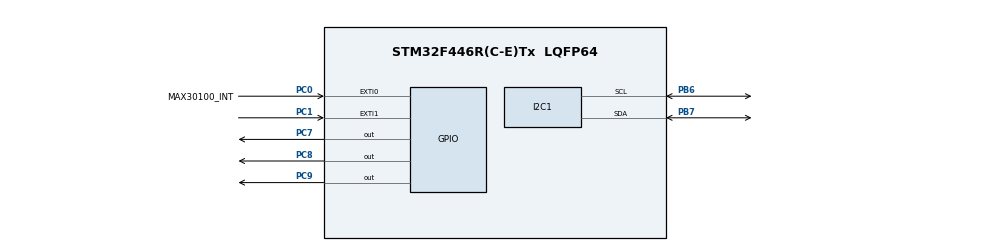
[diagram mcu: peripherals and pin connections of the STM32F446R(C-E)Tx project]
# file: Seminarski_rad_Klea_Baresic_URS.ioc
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Mcu.Family=STM32F4
Mcu.Name=STM32F446R(C-E)Tx
Mcu.Package=LQFP64
NVIC.EXTI0_IRQn=true\:0\:0\:false\:false\:true\:true\:true\:true
NVIC.EXTI1_IRQn=true\:0\:0\:false\:false\:true\:true\:true\:true
NVIC.PriorityGroup=NVIC_PRIORITYGROUP_4
NVIC.TIM2_IRQn=true\:0\:0\:false\:false\:true\:true\:true\:true
PA13.Mode=Serial_Wire
PA13.Signal=SYS_JTMS-SWDIO
PA14.Mode=Serial_Wire
PA14.Signal=SYS_JTCK-SWCLK
PB6.Mode=I2C
PB6.Signal=I2C1_SCL
PB7.Mode=I2C
PB7.Signal=I2C1_SDA
PC0.GPIO_Label=MAX30100_INT
PC0.GPIO_PuPd=GPIO_PULLUP
PC0.Signal=GPXTI0
PC1.GPIO_ModeDefaultEXTI=GPIO_MODE_IT_FALLING
PC1.GPIO_PuPd=GPIO_PULLUP
PC1.Signal=GPXTI1
PC7.Signal=GPIO_Output
PC8.Signal=GPIO_Output
PC9.Signal=GPIO_Output
ProjectManager.HeapSize=0x200
ProjectManager.StackSize=0x400
ProjectManager.TargetToolchain=STM32CubeIDE
RCC.CortexFreq_Value=16000000
RCC.USBFreq_Value=96000000
RCC.VCOOutputFreq_Value=192000000
TIM2.Period=99
TIM2.Prescaler=1599
VP_TIM2_VS_ClockSourceINT.Mode=Internal
board=custom

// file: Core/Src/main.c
/* USER CODE BEGIN Header */
/**
  ******************************************************************************
  * @file           : main.c
  * @brief          : Main program body
  ******************************************************************************
  */
/* USER CODE END Header */
#include "main.h"
#include "i2c.h"
#include "tim.h"
#include "gpio.h"

/* USER CODE BEGIN Includes */
#include "ssd1306.h"
#include "ssd1306_fonts.h"
#include <stdio.h>
#include <string.h>
/* USER CODE END Includes */

/* USER CODE BEGIN PV */
volatile uint8_t podaci_spremni   = 0;
volatile uint8_t uzorci_cekanje   = 0;
volatile uint8_t otkucaj   = 0;
volatile uint8_t prst_bio_prisutan = 0;
volatile uint8_t reset_zahtjev = 0;
volatile uint32_t zadnji_reset_tick = 0;

#define MAX_UZORKOVANJE      500

uint32_t ir_buffer[MAX_UZORKOVANJE];
uint32_t red_buffer[MAX_UZORKOVANJE];
uint16_t buffer_index = 0;
uint8_t  buffer_pun   = 0;

int32_t bpm_history[7] = {0, 0, 0, 0, 0, 0, 0};
uint8_t bpm_idx        = 0;
int32_t spo2_history[5] = {0, 0, 0, 0, 0};
uint8_t spo2_idx        = 0;

uint32_t led_tick = 0;
uint8_t led_stanje = 0;
uint8_t led_tip = 0;
uint8_t prethodni_led = 0;
uint8_t prethodni_led_tip = 0;
/* USER CODE END PV */

void SystemClock_Config(void);
/* USER CODE BEGIN PFP */
void ugasi_GPIO_izlaze(void);

/* USER CODE END PFP */

/* USER CODE BEGIN 0 */
#define MAX30100_ADDR        0xAE  // 0x57 << 1
#define MAX30100_REG_MODE    0x06
#define MAX30100_REG_SPO2    0x07
#define MAX30100_REG_LED     0x09
#define MAX30100_REG_FIFO    0x05
#define MAX30100_REG_INT_EN  0x01

void MAX30100_Init(I2C_HandleTypeDef *hi2c)
{
    uint8_t data;

    // reset
    data = 0x40;
    HAL_I2C_Mem_Write(hi2c, MAX30100_ADDR, MAX30100_REG_MODE, 1, &data, 1, 100);
    HAL_Delay(100);

    // SpO2 mode
    data = 0x03;
    HAL_I2C_Mem_Write(hi2c, MAX30100_ADDR, MAX30100_REG_MODE, 1, &data, 1, 100);

    // SpO2 config: 100Hz, 1600us pulse
    data = 0x47;
    HAL_I2C_Mem_Write(hi2c, MAX30100_ADDR, MAX30100_REG_SPO2, 1, &data, 1, 100);

    // LED struja: IR 36mA + RED 36mA (0xFF je previse, senzor je u zasicenju)
    data = 0xAA;
    HAL_I2C_Mem_Write(hi2c, MAX30100_ADDR, MAX30100_REG_LED, 1, &data, 1, 100);

    // ocisti FIFO pokazivace
    data = 0x00;
    HAL_I2C_Mem_Write(hi2c, MAX30100_ADDR, 0x02, 1, &data, 1, 100);
    HAL_I2C_Mem_Write(hi2c, MAX30100_ADDR, 0x03, 1, &data, 1, 100);
    HAL_I2C_Mem_Write(hi2c, MAX30100_ADDR, 0x04, 1, &data, 1, 100);
}

void MAX30100_ReadFifo(I2C_HandleTypeDef *hi2c, uint32_t *ir, uint32_t *red)
{
    uint8_t buf[4];
    HAL_I2C_Mem_Read(hi2c, MAX30100_ADDR, MAX30100_REG_FIFO, 1, buf, 4, 100);
    *ir  = ((uint32_t)buf[0] << 8) | buf[1];
    *red = ((uint32_t)buf[2] << 8) | buf[3];
}

// port oxullo BeatDetector algoritma za STM32 HAL
// originalni driver sa (https://github.com/oxullo/Arduino-MAX30100)
#define BEATDETECTOR_INIT_HOLDOFF          2000
#define BEATDETECTOR_CANDIDACY_TRESHOLD    0.02f
#define BEATDETECTOR_MASKING_HOLDOFF       500
#define BEATDETECTOR_BPFILTER_ALPHA        0.6f
#define BEATDETECTOR_MIN_THRESHOLD         0.20f
#define BEATDETECTOR_MAX_THRESHOLD         13.0f
#define BEATDETECTOR_STEP_RESISTRY         0.0005f
#define BEATDETECTOR_STEP_DECAY            0.002f

typedef enum
{
    BEATDETECTOR_STATE_INIT,
    BEATDETECTOR_STATE_WAITING,
    BEATDETECTOR_STATE_FOLLOWING_SLOPE,
    BEATDETECTOR_STATE_MAYBE_DETECTED,
    BEATDETECTOR_STATE_MASKING
} BeatDetectorState;

static BeatDetectorState  beat_state     = BEATDETECTOR_STATE_INIT;
static float              beat_threshold = BEATDETECTOR_MAX_THRESHOLD;
static float              beat_bpm       = 0.0f;
static uint32_t           beat_ts_last   = 0;

uint8_t BeatDetector_Update(float sample)
{
    uint8_t beat_detected = 0;
    uint32_t now = HAL_GetTick();

    switch (beat_state)
    {
        case BEATDETECTOR_STATE_INIT: //cekanje od 2000ms da izbjegnemo prikupljanje sumova na pocektu
            if (now > BEATDETECTOR_INIT_HOLDOFF)
            {
                beat_state = BEATDETECTOR_STATE_WAITING;
            }
            break;

        case BEATDETECTOR_STATE_WAITING: //cekanje signala da naraste iznad praga
            if (sample > beat_threshold)
            {
                beat_state = BEATDETECTOR_STATE_FOLLOWING_SLOPE;
            }
            if (sample > BEATDETECTOR_MIN_THRESHOLD)
            {
                beat_threshold -= BEATDETECTOR_STEP_DECAY; //prilagodavanje praga da se dohvati slabiji signal
            }
            else
            {
                beat_threshold += BEATDETECTOR_STEP_RESISTRY; //zastita od laznih detekcija u tisini
            }

            if (beat_threshold < BEATDETECTOR_MIN_THRESHOLD)
                beat_threshold = BEATDETECTOR_MIN_THRESHOLD;

            if (beat_threshold > BEATDETECTOR_MAX_THRESHOLD)
                beat_threshold = BEATDETECTOR_MAX_THRESHOLD;
            break;

        case BEATDETECTOR_STATE_FOLLOWING_SLOPE: //pracenje vrha signala, kad padne prosao je otkucaj
            if (sample < beat_threshold)
            {
                beat_state = BEATDETECTOR_STATE_MAYBE_DETECTED;
            }

            beat_threshold = sample * BEATDETECTOR_CANDIDACY_TRESHOLD;

            if (beat_threshold < BEATDETECTOR_MIN_THRESHOLD)
                beat_threshold = BEATDETECTOR_MIN_THRESHOLD;
            break;

        case BEATDETECTOR_STATE_MAYBE_DETECTED: //potvrda otkucaja
            if (sample + BEATDETECTOR_CANDIDACY_TRESHOLD < beat_threshold)
            {
                beat_detected = 1; //potvrden otkucaj i izracun bpm
                uint32_t interval = now - beat_ts_last;
                if (beat_ts_last > 0 && interval > 300 && interval < 2000)
                {
                    beat_bpm = 60000.0f / (float)interval;
                }

                beat_ts_last = now;
                beat_state = BEATDETECTOR_STATE_MASKING;

            }

            else
            {
                beat_state = BEATDETECTOR_STATE_WAITING;
            }
            break;

       //blokiranje detekcije na 500ms zbog sekundarnog vala pulsnog signala koji bi se racunao kao dodatni otkucaj
        case BEATDETECTOR_STATE_MASKING:
            if (now - beat_ts_last > BEATDETECTOR_MASKING_HOLDOFF)
            {
                beat_state = BEATDETECTOR_STATE_WAITING;
            }
            break;
    }

    return beat_detected;
}

float BeatDetector_GetBPM(void)
{
    return beat_bpm;
}

int32_t Calculate_SpO2(uint32_t *ir_buf, uint32_t *red_buf, uint16_t size)
{
    if (size > MAX_UZORKOVANJE) size = MAX_UZORKOVANJE;

    #define NUM_WINDOWS 9
    float ratios[NUM_WINDOWS];
    uint16_t window_size = size / NUM_WINDOWS; //podjela buffera signala na više dijelova zbog zastite od sumova

    for (int w = 0; w < NUM_WINDOWS; w++)
    {
        uint16_t start = w * window_size;
        uint16_t end   = start + window_size;

        uint32_t ir_max = 0, ir_min = 0xFFFFFFFF;
        uint32_t red_max = 0, red_min = 0xFFFFFFFF;
        uint64_t ir_sum = 0, red_sum = 0;

        for (int i = start; i < end; i++)
        {
            ir_sum  += ir_buf[i];
            red_sum += red_buf[i];
            if (ir_buf[i]  > ir_max)  ir_max  = ir_buf[i];
            if (ir_buf[i]  < ir_min)  ir_min  = ir_buf[i];
            if (red_buf[i] > red_max) red_max = red_buf[i];
            if (red_buf[i] < red_min) red_min = red_buf[i];
        }

        float ir_ac  = (float)(ir_max - ir_min); // pulsna komponenta, tjst otkucaji
        float red_ac = (float)(red_max - red_min); //pulsna komponenta crvene
        float ir_dc  = (float)(ir_sum  / window_size); //prosjek, stalne komponenze (tkivo, kosti..)
        float red_dc = (float)(red_sum / window_size);

        if (ir_ac < 1.0f || ir_dc < 1.0f)
            ratios[w] = 0.0f;
        else
            ratios[w] = (red_ac / red_dc) / (ir_ac / ir_dc);
    }

    for (int i = 0; i < NUM_WINDOWS - 1; i++)
        for (int j = i + 1; j < NUM_WINDOWS; j++)
            if (ratios[i] > ratios[j])
            {
                float tmp = ratios[i];
                ratios[i] = ratios[j];
                ratios[j] = tmp;
            }

    //medijan ratia
    float ratio = ratios[NUM_WINDOWS / 2];

    if (ratio < 0.1f || ratio > 1.3f ) return 0;

    // kalibrirana formula za MAX30100
    int32_t spo2 = (int32_t)(109.0f - 14.0f * ratio);

    //stavljam ogranicenja jer senzor inace daje neobicne vrijednosti
    if (spo2 > 99) spo2 = 99;
    if (spo2 < 80)  spo2 = 80;

    return spo2;
}

void ugasi_GPIO_izlaze(void)
{
    HAL_GPIO_WritePin(GPIOC, GPIO_PIN_7, GPIO_PIN_RESET);
    HAL_GPIO_WritePin(GPIOC, GPIO_PIN_8, GPIO_PIN_RESET);
    HAL_GPIO_WritePin(GPIOC, GPIO_PIN_9, GPIO_PIN_RESET);
}

/* USER CODE END 0 */

int main(void)
{

  /* MCU Configuration--------------------------------------------------------*/

  /* Reset of all peripherals, Initializes the Flash interface and the Systick. */
  HAL_Init();

  /* Configure the system clock */
  SystemClock_Config();

  /* Initialize all configured peripherals */
  MX_GPIO_Init();
  MX_I2C1_Init();
  MX_TIM2_Init();
  /* USER CODE BEGIN 2 */
    char     buffer[32];
    uint32_t zadnje_vrijeme = 0;
    int32_t  bpm  = 0;
    int32_t  spo2 = 0;

    HAL_TIM_Base_Start_IT(&htim2);

    //inicijakizacija malog oled zaslona
    ssd1306_Init();
    ssd1306_Fill(Black);
    ssd1306_SetCursor(10, 10);
    ssd1306_WriteString("Pokretanje...", Font_11x18, White);
    ssd1306_UpdateScreen();
    HAL_Delay(500);

    MAX30100_Init(&hi2c1);

    ssd1306_Fill(Black);
    ssd1306_SetCursor(10, 10);
    ssd1306_WriteString("Spreman!", Font_11x18, White);
    ssd1306_UpdateScreen();
    HAL_Delay(500);
  /* USER CODE END 2 */

  /* Infinite loop */
  /* USER CODE BEGIN WHILE */
    while (1)
    {

		uint32_t now = HAL_GetTick();

    	if(reset_zahtjev)
    	{
    	  reset_zahtjev=0;

    	  //reset funkcija detektiranja
    	  beat_state=BEATDETECTOR_STATE_INIT;
    	  beat_threshold = BEATDETECTOR_MAX_THRESHOLD;
    	  beat_bpm=0.0f;
    	  beat_ts_last=HAL_GetTick();;

    	  //reset preracunanih vrijednosti
    	  bpm=0;
    	  spo2=0;
    	  for (int i = 0; i < 7; i++) bpm_history[i] = 0;
    	  for (int i = 0; i < 5; i++) spo2_history[i] = 0;
    	  bpm_idx = 0;
    	  spo2_idx = 0;

    	  //reset buffera
    	  buffer_index=0;
    	  buffer_pun=0;
    	  prst_bio_prisutan=0;

    	  ugasi_GPIO_izlaze();

    	  ssd1306_Fill(Black);
    	  ssd1306_SetCursor(10,10);
    	  ssd1306_WriteString("Reset...",Font_11x18, White);
    	  ssd1306_UpdateScreen();
    	  HAL_Delay(300);
    	}

    	while (uzorci_cekanje>0)
    	{
    		__disable_irq();

    		if (uzorci_cekanje > 0)
    		        uzorci_cekanje--;

    		__enable_irq();

    	    uint32_t ir, red;

    	    (MAX30100_ReadFifo(&hi2c1, &ir, &red));

    	    if (ir == 0 || red == 0)
    	    	continue;

    	    static float ir_dc = 0.0f;
    	    ir_dc = ir_dc * 0.99f + (float)ir * 0.01f;
    	    float ir_ac = (float)ir - ir_dc;

    	    // uklanjanje visokofrekventnog suma na AC signalu
    	    static float ir_ac_filtered = 0.0f;
    	    ir_ac_filtered = ir_ac_filtered * 0.75f + ir_ac * 0.25f;

    	    if (BeatDetector_Update(ir_ac_filtered))// filtrirani signal
    	    {
    	        otkucaj = 1;
    	    }

    	    ir_buffer[buffer_index]  = ir;
    	    red_buffer[buffer_index] = red;
    	    buffer_index++;
    	    if (buffer_index >= MAX_UZORKOVANJE)
    	    {
    	        buffer_index = 0;
    	        buffer_pun   = 1;
    	    }
    	}

        // prikaz svakih 200ms, samo kad je buffer pun
        if (buffer_pun && (HAL_GetTick() - zadnje_vrijeme >= 200))
        {
            zadnje_vrijeme = HAL_GetTick();

            // provjera je li prst prisutan (zadnjih 10 uzoraka)
            uint8_t prst_prisutan = 1;

            uint64_t ir_zbroj=0;

            /* Provjera zadnjih 10 IR uzoraka */
            for (int i = 0; i < 10; i++)
            {
                uint16_t idx =
                    (buffer_index + MAX_UZORKOVANJE - 1 - i) % MAX_UZORKOVANJE;

                ir_zbroj+=ir_buffer[idx];
            }

            uint32_t ir_prosjek=ir_zbroj/10;

            if(ir_prosjek<13500)
            	prst_prisutan=0;

            ssd1306_Fill(Black);

            if (prst_prisutan)
               {
                float novi_bpm_f = BeatDetector_GetBPM();
                int32_t novi_bpm = (int32_t)novi_bpm_f;
                int32_t novi_spo2 = Calculate_SpO2(ir_buffer, red_buffer, MAX_UZORKOVANJE);

                if (!prst_bio_prisutan)
                   {
                    beat_state     = BEATDETECTOR_STATE_INIT;
                    beat_threshold = BEATDETECTOR_MAX_THRESHOLD;
                    beat_bpm       = 0.0f;
                    beat_ts_last   = 0;

                	for (int i = 0; i < 7; i++) bpm_history[i] = 0;
                         bpm = 0;
                    }
                     prst_bio_prisutan = 1;

                if (novi_bpm >= 50 && novi_bpm <= 180)
                {
                    // provjera je li se bpm previse razlikuje
                	if (bpm == 0 || (novi_bpm >= (bpm * 75) / 100 && novi_bpm <= (bpm * 125) / 100))
                    {
                        bpm_history[bpm_idx] = novi_bpm;
                        bpm_idx = (bpm_idx + 1) % 7;
                        int32_t sum = 0;
                        int32_t count = 0;
                        for (int i = 0; i < 7; i++) {
                            if (bpm_history[i] > 0) {
                                sum += bpm_history[i];
                                count++;
                            }
                        }
                        if (count > 0) bpm = sum / count;
                    }

                    uint8_t novi_led_tip = 0;

                    /*
                     * 0 = nema validnog BPM
                     * 1 = 50-99 BPM
                     * 2 = 100+ BPM
                     */
                    if (bpm >= 50 && bpm < 100)
                    {
                        novi_led_tip = 1;
                    }
                    else if (bpm >= 100 && bpm <= 180)
                    {
                        novi_led_tip = 2;
                    }
                    else
                    {
                        novi_led_tip = 0;
                    }

                    if (novi_led_tip != prethodni_led_tip)
                    {
                        prethodni_led_tip = novi_led_tip;

                        led_tick = now;
                        led_stanje = 0;

                        HAL_GPIO_WritePin(GPIOC, GPIO_PIN_7 | GPIO_PIN_8 | GPIO_PIN_9, GPIO_PIN_RESET);
                    }

                    if (novi_led_tip == 1)
                    {
                        led_tip = 1;

                        if ((now - led_tick) >= 500)
                        {
                            led_tick = now;

                            led_stanje = !led_stanje;

                            HAL_GPIO_WritePin(GPIOC, GPIO_PIN_7, led_stanje ? GPIO_PIN_SET : GPIO_PIN_RESET);
                            HAL_GPIO_WritePin(GPIOC, GPIO_PIN_8 | GPIO_PIN_9, GPIO_PIN_RESET);
                        }
                    }

                        else if (novi_led_tip == 2)
                        {
                            led_tip = 2;

                            if ((now - led_tick) >= 300)
                            {
                                led_tick = now;

                                led_stanje = !led_stanje;

                                HAL_GPIO_WritePin(GPIOC, GPIO_PIN_7, GPIO_PIN_RESET);

                                if (led_stanje)
                                {
                                    HAL_GPIO_WritePin(GPIOC, GPIO_PIN_9, GPIO_PIN_SET);

                                    HAL_GPIO_WritePin(GPIOC, GPIO_PIN_8, GPIO_PIN_RESET);
                                }
                                else
                                {
                                    HAL_GPIO_WritePin(GPIOC, GPIO_PIN_9, GPIO_PIN_RESET);

                                    HAL_GPIO_WritePin(GPIOC, GPIO_PIN_8,GPIO_PIN_SET);
                                }
                            }
                        }

                        else
                        {
                            led_tip = 0;
                            led_stanje = 0;
                            HAL_GPIO_WritePin(GPIOC, GPIO_PIN_7 | GPIO_PIN_8 | GPIO_PIN_9, GPIO_PIN_RESET);
                        }
                }

                if (novi_spo2 >= 85 && novi_spo2 <= 100)
                {
                    spo2_history[spo2_idx] = novi_spo2;
                    spo2_idx = (spo2_idx + 1) % 5;
                    int32_t spo2_sum = 0;
                    for (int i = 0; i < 5; i++) spo2_sum += spo2_history[i];
                    spo2 = spo2_sum / 5;
                }

                if (bpm > 0 && spo2 > 0) //ispisivanje obradenih podataka
                {
                    sprintf(buffer, "BPM: %ld", bpm);
                    ssd1306_SetCursor(0, 0);
                    ssd1306_WriteString(buffer, Font_11x18, White);

                    sprintf(buffer, "SpO2: %ld%%", spo2);
                    ssd1306_SetCursor(0, 25);
                    ssd1306_WriteString(buffer, Font_11x18, White);

                }
                else
                {
                    ssd1306_SetCursor(0, 10);
                    ssd1306_WriteString("Miruj...", Font_11x18, White);
                }
            }
            else
            {
            	HAL_GPIO_WritePin(GPIOC, GPIO_PIN_7 | GPIO_PIN_8 | GPIO_PIN_9, GPIO_PIN_RESET);
            	prst_bio_prisutan = 0;
                bpm  = 0;
                spo2 = 0;

                ssd1306_SetCursor(0, 20);
                ssd1306_WriteString("Stavi prst", Font_11x18, White);
            }

            ssd1306_UpdateScreen();
        }
    }
    /* USER CODE END WHILE */

}

void SystemClock_Config(void)
{
  RCC_OscInitTypeDef RCC_OscInitStruct = {0};
  RCC_ClkInitTypeDef RCC_ClkInitStruct = {0};

  /** Configure the main internal regulator output voltage
  */
  __HAL_RCC_PWR_CLK_ENABLE();
  __HAL_PWR_VOLTAGESCALING_CONFIG(PWR_REGULATOR_VOLTAGE_SCALE3);

  /** Initializes the RCC Oscillators according to the specified parameters
  * in the RCC_OscInitTypeDef structure.
  */
  RCC_OscInitStruct.OscillatorType = RCC_OSCILLATORTYPE_HSI;
  RCC_OscInitStruct.HSIState = RCC_HSI_ON;
  RCC_OscInitStruct.HSICalibrationValue = RCC_HSICALIBRATION_DEFAULT;
  RCC_OscInitStruct.PLL.PLLState = RCC_PLL_NONE;
  if (HAL_RCC_OscConfig(&RCC_OscInitStruct) != HAL_OK)
  {
    Error_Handler();
  }

  /** Initializes the CPU, AHB and APB buses clocks
  */
  RCC_ClkInitStruct.ClockType = RCC_CLOCKTYPE_HCLK|RCC_CLOCKTYPE_SYSCLK
                              |RCC_CLOCKTYPE_PCLK1|RCC_CLOCKTYPE_PCLK2;
  RCC_ClkInitStruct.SYSCLKSource = RCC_SYSCLKSOURCE_HSI;
  RCC_ClkInitStruct.AHBCLKDivider = RCC_SYSCLK_DIV1;
  RCC_ClkInitStruct.APB1CLKDivider = RCC_HCLK_DIV1;
  RCC_ClkInitStruct.APB2CLKDivider = RCC_HCLK_DIV1;

  if (HAL_RCC_ClockConfig(&RCC_ClkInitStruct, FLASH_LATENCY_0) != HAL_OK)
  {
    Error_Handler();
  }
}

/* USER CODE BEGIN 4 */
void HAL_TIM_PeriodElapsedCallback(TIM_HandleTypeDef *htim)
{
    if (htim->Instance == TIM2)
    {
        if(uzorci_cekanje<10)
        {
        	uzorci_cekanje++;
        }
    }
}

void HAL_GPIO_EXTI_Callback(uint16_t GPIO_Pin) //mogucnost modifikacije koda za okidanja senzora pomoću interrupta
{
    if (GPIO_Pin == GPIO_PIN_0) //senzor
        podaci_spremni = 1;

    else if (GPIO_Pin == GPIO_PIN_1) //tipkalo
    {
    	uint32_t now = HAL_GetTick();
    	if ((now-zadnji_reset_tick)>200)	//debounce od 200ms
    	{
    	  zadnji_reset_tick = now;
    	  reset_zahtjev = 1;
    	}
    }
}
/* USER CODE END 4 */

void Error_Handler(void)
{
  __disable_irq();
  while (1)
  {
  }
}
